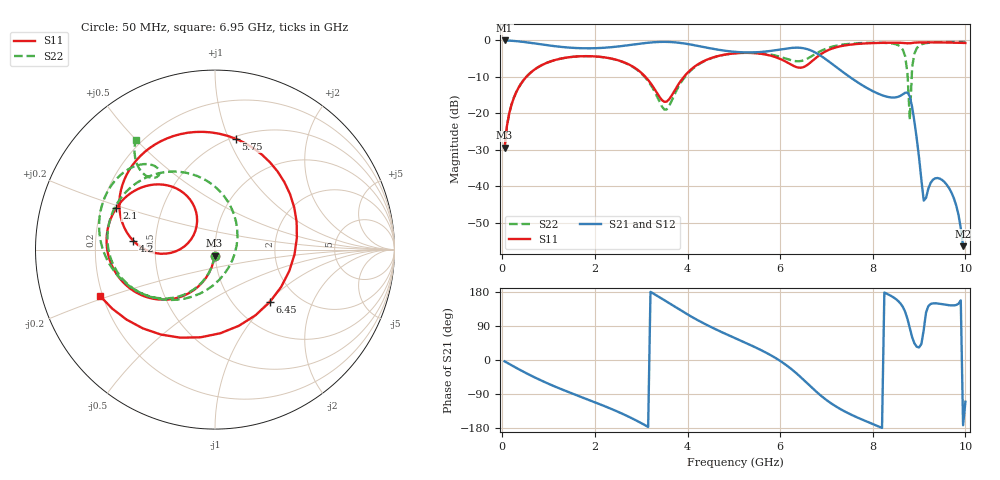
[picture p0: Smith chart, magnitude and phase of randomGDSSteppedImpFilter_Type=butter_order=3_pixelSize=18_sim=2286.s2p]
! freq	dB(S11)	phase(S11)	dB(S12)	phase(S12)
!  dB(S21)	phase(S21)	dB(S22)	phase(S22)
!S-par simulation data
#  GHz  S  DB  R 50
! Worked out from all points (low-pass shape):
!   200 points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, 50 MHz to 10 GHz, reference 50 ohm
!   highest |S21| = -0.01 dB at 50 MHz (marker M1); lowest = -56.4 dB at 9.95 GHz (marker M2)
!   |S21| within 3 dB of the highest: start of sweep to 4.924 GHz; 5.712 GHz to 6.711 GHz (998.2 MHz wide, 16.1 % of centre)
!   lowest |S11| = -29.5 dB at 50 MHz (marker M3), VSWR 1.07, Z = 49.7 - j3.34 ohm
!   |S11| at or under -10 dB: start of sweep to 519.4 MHz; 3.091 GHz to 3.922 GHz (830.9 MHz wide, 23.7 % of centre)
!   |S22| runs from -29.5 to -0.4 dB; largest |S21 - S12| = 0
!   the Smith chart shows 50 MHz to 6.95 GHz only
!   S11 on the Smith chart (normalised r, x): 50 MHz: 0.99, -0.07; 2.1 GHz: 0.26, +0.19; 4.2 GHz: 0.37, +0.05; 5.75 GHz: 0.52, +1.06; 6.45 GHz: 1.45, -1.03; 6.95 GHz: 0.19, -0.19
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0.05  -29.45 -93.6  -0.01 -3.5  -0.01 -3.5  -29.45 -93.7
0.2  -17.58 -104.2  -0.10 -13.9  -0.10 -13.9  -17.58 -104.6
0.5  -10.27 -123.7  -0.48 -33.7  -0.48 -33.7  -10.27 -124.7
1.75  -4.32 172.4  -2.15 -99.8  -2.15 -99.8  -4.33 167.4
2.1  -4.49 157.1  -2.08 -116.4  -2.08 -116.4  -4.50 149.8
3.4  -15.59 128.1  -0.41 165.2  -0.41 165.2  -16.94 28.4
4.2  -6.76 173.7  -1.44 106.4  -1.44 106.4  -6.92 -144.7
5.05  -3.51 128.4  -3.16 56.4  -3.16 56.4  -3.49 163.9
5.75  -4.04 79.2  -2.95 15.8  -2.95 15.8  -3.77 134.5
6.45  -7.48 -43.7  -2.05 -46.0  -2.05 -46.0  -5.64 130.0
6.7  -5.57 -111.3  -2.94 -74.7  -2.94 -74.7  -4.17 133.1
6.95  -3.22 -157.9  -4.84 -100.9  -4.84 -100.9  -2.47 125.9
7.6  -1.04 137.8  -10.88 -148.0  -10.88 -148.0  -0.83 96.3
8.35  -0.63 97.2  -15.56 172.1  -15.56 172.1  -0.75 59.4
8.7  -0.74 81.9  -14.36 127.0  -14.36 127.0  -4.36 8.5
8.8  -0.79 79.0  -15.40 83.6  -15.40 83.6  -21.76 -160.3
8.85  -0.70 77.4  -18.27 60.1  -18.27 60.1  -7.32 130.3
8.9  -0.62 75.3  -22.35 43.8  -22.35 43.8  -3.59 107.9
9.1  -0.53 66.7  -43.92 79.2  -43.92 79.2  -0.87 71.7
9.55  -0.57 48.5  -38.87 146.3  -38.87 146.3  -0.44 44.4
9.95  -0.68 32.2  -56.44 -172.1  -56.44 -172.1  -0.41 28.6
10  -0.70 30.1  -56.02 -110.2  -56.02 -110.2  -0.41 26.8
